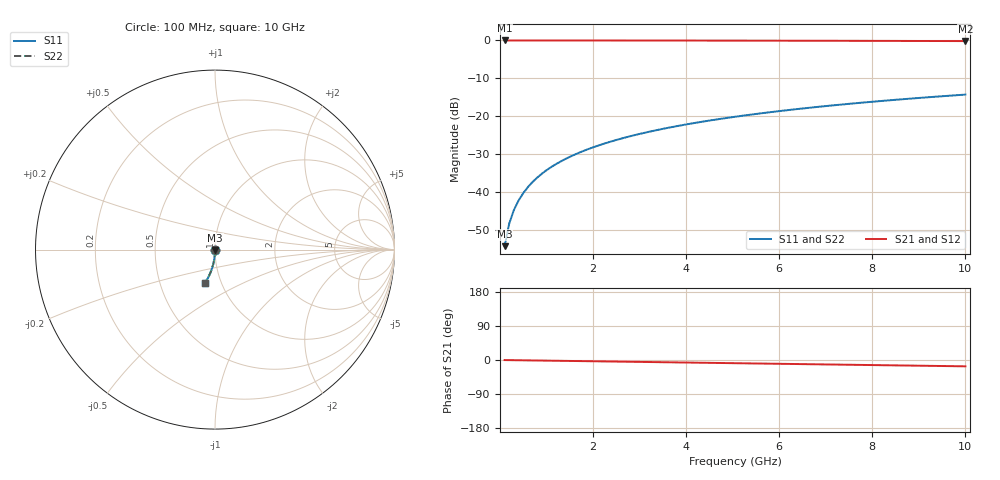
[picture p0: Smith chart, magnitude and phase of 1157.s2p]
# Hz S RI R 50.00
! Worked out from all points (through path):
!   100 points, 100 MHz to 10 GHz, reference 50 ohm
!   highest |S21| = 0.00 dB at 100 MHz (marker M1); lowest = -0.2 dB at 10 GHz (marker M2)
!   group delay of S21, straight-line fit = 4.65 ps
!   lowest |S11| = -54.2 dB at 100 MHz (marker M3), VSWR 1.00, Z = 50 - j0.196 ohm
!   |S11| at or under -10 dB: start of sweep to end of sweep
!   |S22| runs from -54.2 to -14.3 dB; largest |S21 - S12| = 0
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1e8  0.000115 -0.00196  0.9999 -0.0029  0.9999 -0.0029  0.000115 -0.00196
2e8  9.69e-05 -0.00391  0.9998 -0.0058  0.9998 -0.0058  9.69e-05 -0.00391
3e8  6.69e-05 -0.00587  0.9998 -0.0087  0.9998 -0.0087  6.69e-05 -0.00587
4e8  2.53e-05 -0.00782  0.9998 -0.0116  0.9998 -0.0116  2.53e-05 -0.00782
5e8  -2.76e-05 -0.00978  0.9997 -0.0145  0.9997 -0.0145  -2.76e-05 -0.00978
6e8  -9.2e-05 -0.0117  0.9996 -0.0174  0.9996 -0.0174  -9.2e-05 -0.0117
7e8  -0.000168 -0.0137  0.9996 -0.0203  0.9996 -0.0203  -0.000168 -0.0137
8e8  -0.000255 -0.0156  0.9995 -0.0232  0.9995 -0.0232  -0.000255 -0.0156
9e8  -0.000353 -0.0176  0.9994 -0.0261  0.9994 -0.0261  -0.000353 -0.0176
1.1e9  -0.000585 -0.0215  0.9991 -0.0319  0.9991 -0.0319  -0.000585 -0.0215
1.4e9  -0.00102 -0.0274  0.9986 -0.0406  0.9986 -0.0406  -0.00102 -0.0274
1.8e9  -0.00175 -0.0352  0.9978 -0.0522  0.9978 -0.0522  -0.00175 -0.0352
2.1e9  -0.00243 -0.041  0.9971 -0.0609  0.9971 -0.0609  -0.00243 -0.041
2.5e9  -0.00348 -0.0488  0.996 -0.0725  0.996 -0.0725  -0.00348 -0.0488
2.9e9  -0.00472 -0.0566  0.9946 -0.0841  0.9946 -0.0841  -0.00472 -0.0566
3.4e9  -0.00653 -0.0663  0.9927 -0.0985  0.9927 -0.0985  -0.00653 -0.0663
4.2e9  -0.01 -0.0817  0.9889 -0.1215  0.9889 -0.1215  -0.01 -0.0817
5.1e9  -0.0148 -0.0988  0.9838 -0.1473  0.9838 -0.1473  -0.0148 -0.0988
5.9e9  -0.0198 -0.1138  0.9784 -0.17  0.9784 -0.17  -0.0198 -0.1138
6.7e9  -0.0255 -0.1285  0.9722 -0.1924  0.9722 -0.1924  -0.0255 -0.1285
8.4e9  -0.0397 -0.1587  0.9567 -0.2392  0.9567 -0.2392  -0.0397 -0.1587
1e10  -0.0557 -0.1855  0.9393 -0.2818  0.9393 -0.2818  -0.0557 -0.1855
